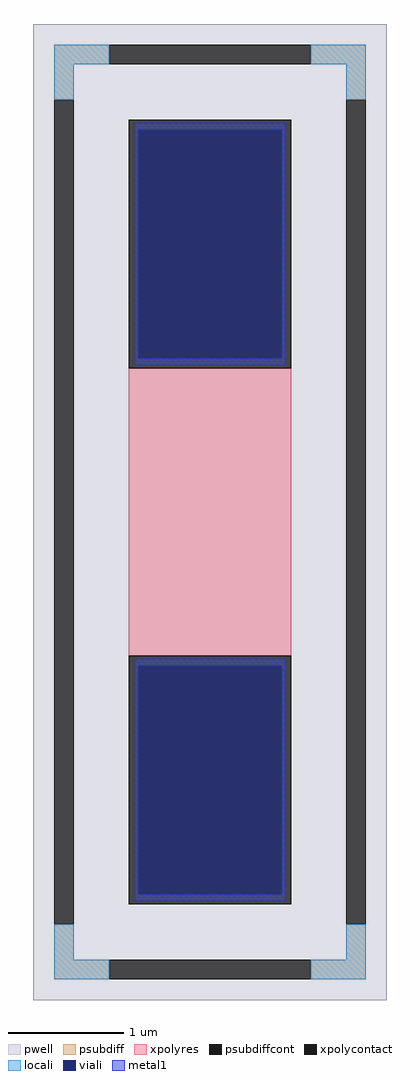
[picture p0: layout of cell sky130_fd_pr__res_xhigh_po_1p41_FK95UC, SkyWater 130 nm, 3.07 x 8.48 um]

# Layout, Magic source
magic
tech sky130A
magscale 1 2
<< pwell >>
rect -307 -848 307 848
<< psubdiff >>
rect -271 778 -175 812
rect 175 778 271 812
rect -271 716 -237 778
rect 237 716 271 778
rect -271 -778 -237 -716
rect 237 -778 271 -716
rect -271 -812 -175 -778
rect 175 -812 271 -778
<< psubdiffcont >>
rect -175 778 175 812
rect -271 -716 -237 716
rect 237 -716 271 716
rect -175 -812 175 -778
<< xpolycontact >>
rect -141 250 141 682
rect -141 -682 141 -250
<< xpolyres >>
rect -141 -250 141 250
<< locali >>
rect -271 778 -175 812
rect 175 778 271 812
rect -271 716 -237 778
rect 237 716 271 778
rect -271 -778 -237 -716
rect 237 -778 271 -716
rect -271 -812 -175 -778
rect 175 -812 271 -778
<< viali >>
rect -125 267 125 664
rect -125 -664 125 -267
<< metal1 >>
rect -131 664 131 676
rect -131 267 -125 664
rect 125 267 131 664
rect -131 255 131 267
rect -131 -267 131 -255
rect -131 -664 -125 -267
rect 125 -664 131 -267
rect -131 -676 131 -664
<< properties >>
string FIXED_BBOX -254 -795 254 795
string gencell sky130_fd_pr__res_xhigh_po_1p41
string library sky130
string parameters w 1.410 l 2.655 m 1 nx 1 wmin 1.410 lmin 0.50 rho 2000 val 4.032k dummy 0 dw 0.0 term 188.2 sterm 0.0 caplen 0 wmax 1.410 guard 1 glc 1 grc 1 gtc 1 gbc 1 compatible {sky130_fd_pr__res_xhigh_po_0p35  sky130_fd_pr__res_xhigh_po_0p69 sky130_fd_pr__res_xhigh_po_1p41  sky130_fd_pr__res_xhigh_po_2p85 sky130_fd_pr__res_xhigh_po_5p73} snake 0 full_metal 1 n_guard 0 hv_guard 0 vias 1 viagb 0 viagt 0 viagl 0 viagr 0
<< end >>
